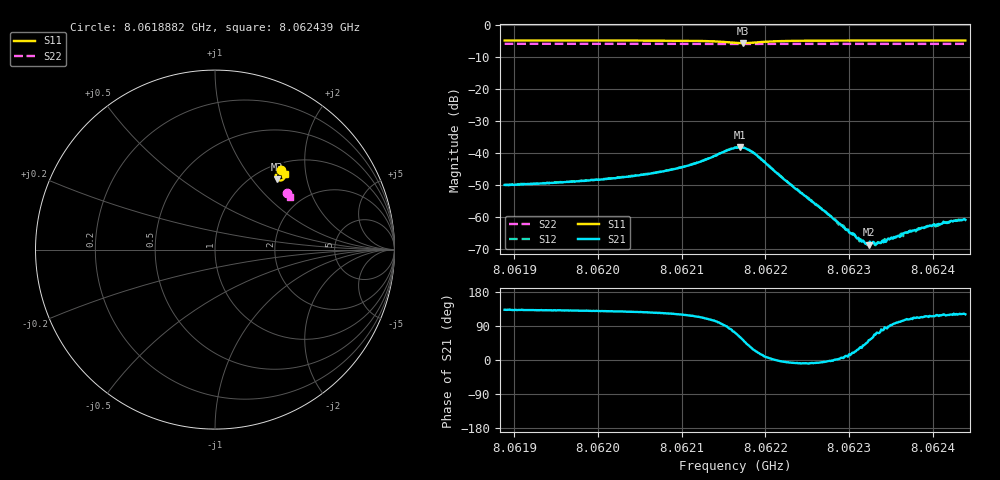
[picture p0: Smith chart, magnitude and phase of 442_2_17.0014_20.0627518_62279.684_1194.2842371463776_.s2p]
#  HZ  S  RI  R  50.00
! Rohde & Schwarz Vector Network Analyzer
! Rohde-Schwarz,ZNB20-2Port,1311601062101988,3.16
! Created: UTC 3/20/2024, 11:11:54 PM
! freq[Hz]  re:S11  im:S11  re:S21  im:S21  re:S12  im:S12  re:S22  im:S22
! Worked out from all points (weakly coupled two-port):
!   401 points, 8.0618882 GHz to 8.062439 GHz, reference 50 ohm
!   highest |S21| = -38.15 dB at 8.0621691 GHz (marker M1); lowest = -68.6 dB at 8.0623234 GHz (marker M2)
!   lowest |S11| = -5.6 dB at 8.0621733 GHz (marker M3), VSWR 3.19, Z = 62.7 + j67.5 ohm
!   |S11| at or under -10 dB: nowhere
!   |S22| runs from -5.9 to -5.8 dB; largest |S21 - S12| = 0.00092
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8.06188823e9  0.3699 0.4415  -0.00216 0.00235  -0.002 0.00251  0.3995 0.3178
8.06198048e9  0.3765 0.4355  -0.00237 0.00282  -0.00222 0.00302  0.403 0.3132
8.06203832e9  0.3813 0.4303  -0.00261 0.00343  -0.00245 0.00364  0.405 0.3102
8.06207274e9  0.3846 0.4256  -0.00287 0.00417  -0.00265 0.00439  0.4064 0.3082
8.06211405e9  0.3885 0.4151  -0.00297 0.00611  -0.00265 0.00632  0.4078 0.306
8.06216362e9  0.3639 0.3849  0.00374 0.0117  0.00445 0.0113  0.408 0.3026
8.06216913e9  0.354 0.3869  0.00598 0.0108  0.00665 0.0105  0.4077 0.3025
8.06217326e9  0.347 0.3911  0.00733 0.00967  0.00802 0.00919  0.4076 0.3026
8.06218703e9  0.3386 0.4138  0.00892 0.00426  0.00913 0.00373  0.4083 0.3031
8.06222008e9  0.3588 0.4351  0.00413 -0.000276  0.00414 -0.000536  0.4103 0.3022
8.06225588e9  0.3715 0.4346  0.00172 -0.000232  0.00175 -0.000364  0.4121 0.3003
8.06231234e9  0.381 0.4305  0.000385 0.000234  0.000372 0.000196  0.4143 0.2972
8.0623206e9  0.3818 0.43  0.000273 0.000268  0.000288 0.000246  0.4146 0.2967
8.06232335e9  0.3822 0.4297  0.000228 0.000292  0.000249 0.000291  0.4148 0.2968
8.06233437e9  0.3834 0.429  0.000126 0.000375  0.000156 0.000377  0.4153 0.2961
8.06234814e9  0.3847 0.4281  7.83e-06 0.000452  1.76e-05 0.000453  0.4158 0.2953
8.06237568e9  0.3872 0.4264  -0.000191 0.000587  -0.000166 0.000581  0.4167 0.294
8.06238807e9  0.3882 0.4255  -0.000265 0.000632  -0.000224 0.000614  0.4171 0.2932
8.06239495e9  0.3887 0.4251  -0.000288 0.000664  -0.000242 0.000684  0.4172 0.293
8.06240597e9  0.3896 0.4244  -0.000366 0.000684  -0.00031 0.000664  0.4176 0.2923
8.06241285e9  0.3902 0.424  -0.000433 0.000734  -0.000345 0.000738  0.418 0.2919
8.06243902e9  0.392 0.4225  -0.00046 0.000782  -0.000459 0.000829  0.4188 0.2905
